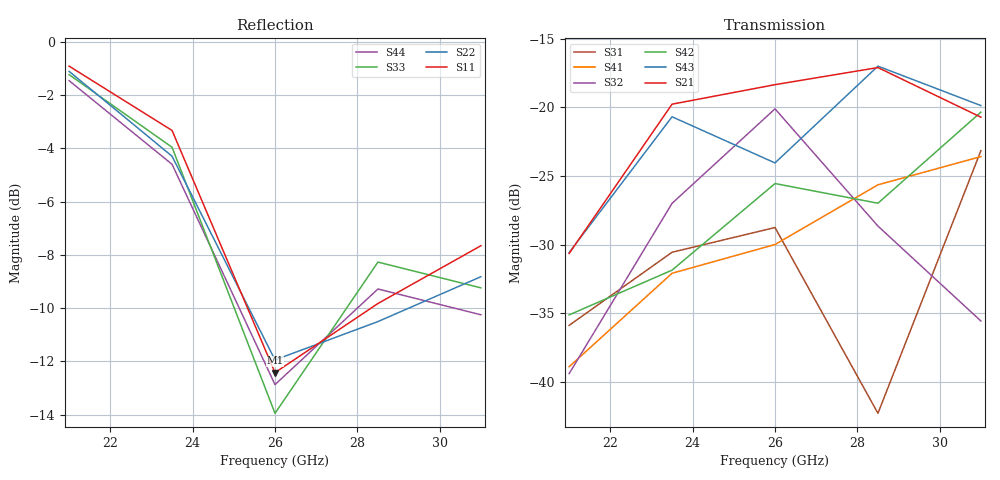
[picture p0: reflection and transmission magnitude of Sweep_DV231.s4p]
! Touchstone file exported from HFSS 2024.1.1
!  File:  D:/AEDT_Default/Farfield/Array/Horn_multimode.aedt
!  Generated:  07:42:56 PM Jul  3, 2024
!  Design:  Array_Rectagular1
!  Project:  Horn_multimode
!  Setup:  Setup1
!  Solution:  Sweep
! Variables:
!  ScanAnglePhi = 0deg
!  ScanAngleTheta = 0deg
!  ScanFrequency = 26000000000Hz
!  ScanMag1 = 1V
!  ScanPhase1 = 0deg
!  ScanPhaseShiftA = -((ScanFrequency*-1.15271476207e-10*sin(ScanAngleTheta)*cos(ScanAnglePhi)) + (ScanFrequency*0.0*sin(ScanAngleTheta)*sin(ScanAnglePhi))) rad
!  ScanPhaseShiftB = -((ScanFrequency*0.0*sin(ScanAngleTheta)*cos(ScanAnglePhi)) + (ScanFrequency*-8.38338008781e-11*sin(ScanAngleTheta)*sin(ScanAnglePhi))) rad
# GHz S MA R 50.000000
! Terminal data exported
! Port[1] = A[1,1]Rect_UnitCell1_1_Patch_T1
! Port[2] = A[1,2]Rect_UnitCell1_1_Patch_T1
! Port[3] = A[2,1]Rect_UnitCell1_1_Patch_T1
! Port[4] = A[2,2]Rect_UnitCell1_1_Patch_T1
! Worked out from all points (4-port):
!   5 points, 21 GHz to 31 GHz, reference 50 ohm
!   strongest paths, dB at 21 GHz, 23.5 GHz, 26 GHz, 28.5 GHz, 31 GHz:
!     S21: -30.6, -19.8, -18.3, -17.1, -20.7
!     S43: -30.6, -20.7, -24.0, -17.0, -19.9
!     S42: -35.1, -31.9, -25.6, -27.0, -20.3
!     S32: -39.4, -27.0, -20.1, -28.6, -35.6
!     S41: -38.9, -32.1, -30.0, -25.6, -23.6
!     S31: -35.9, -30.6, -28.8, -42.3, -23.2
!   lowest |S11| = -12.4 dB at 26 GHz (marker M1), VSWR 1.63, Z = 77.7 + j13.3 ohm
!   |S11| at or under -10 dB: 25.33 GHz to 28.33 GHz (2.995 GHz wide, 11.2 % of centre)
21  0.9006 -47.5  0.02935 172.1  0.01606 150.6  0.01135 85.5
    0.02935 172.1  0.8806 -50.4  0.01071 52.7  0.01754 133.3
    0.01606 150.6  0.01071 52.7  0.8682 -53.0  0.02957 168.1
    0.01135 85.5  0.01754 133.3  0.02957 168.1  0.8459 -54.7
23.5  0.682 -101.3  0.1027 77.6  0.02966 79.1  0.02487 -14.4
      0.1027 77.6  0.6101 -107.0  0.0447 -62.6  0.02553 44.9
      0.02966 79.1  0.0447 -62.6  0.6342 -111.1  0.09241 78.2
      0.02487 -14.4  0.02553 44.9  0.09241 78.2  0.5892 -114.1
26  0.2393 19.8  0.121 -118.4  0.0365 -138.6  0.03165 158.4
    0.121 -118.4  0.2528 20.6  0.09877 97.9  0.05278 -127.4
    0.0365 -138.6  0.09877 97.9  0.2007 23.3  0.06275 -137.1
    0.03165 158.4  0.05278 -127.4  0.06275 -137.1  0.2272 37.2
28.5  0.3227 59.7  0.1396 -83.6  0.007682 -72.7  0.05222 66.1
      0.1396 -83.6  0.2985 44.8  0.03694 -88.4  0.04475 95.9
      0.007682 -72.7  0.03694 -88.4  0.3861 57.6  0.1413 -102.1
      0.05222 66.1  0.04475 95.9  0.1413 -102.1  0.3436 42.0
31  0.4143 -52.9  0.0921 159.9  0.06951 -44.1  0.06615 -69.5
    0.0921 159.9  0.3623 -66.1  0.01667 72.7  0.09606 -31.6
    0.06951 -44.1  0.01667 72.7  0.3453 -67.6  0.1015 142.8
    0.06615 -69.5  0.09606 -31.6  0.1015 142.8  0.3074 -75.7
